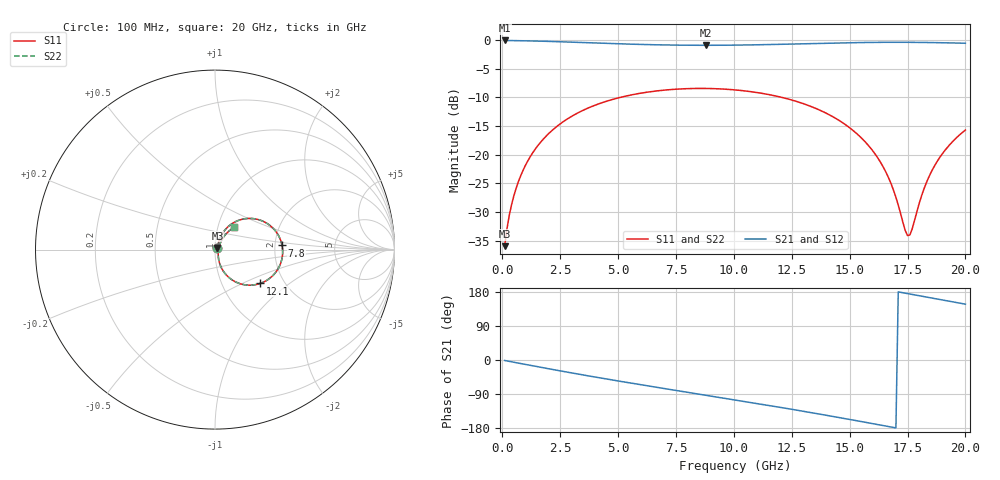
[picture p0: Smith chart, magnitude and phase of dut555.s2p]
! Touchstone file exported from HFSS 2026.1.0
!  File:  C:/ffzhzh/LocalFiles/Ansys_Project_Files/temp_train_TSV_RDL_555_1783115350_35180.aedt
!  Generated:  06:00:34 AM Jul  4, 2026
!  Design:  TSV_RDL
!  Project:  temp_train_TSV_RDL_555_1783115350_35180
! Variables:
!  h_bsmrdl = 3.98um
!  h_ox = 20um
!  h_rdl = 5um
!  h_sub = 80.31um
!  h_tmrdl = 4.88um
!  h_tsv = 80.31um
!  h_via = 3um
!  l_bsmrdl = 232.55um
!  l_sub = 3530.35um
!  l_tmrdl = 576.51um
!  m_sub = 200um
!  pitch = 40.33um
!  r_tsv = 6.1um
!  s_tmrdl = 10um
!  w_bsmrdl = 14.95um
!  w_sub = 500um
!  w_tmrdl = 27.27um
!  x_tsv_center1 = 590.145um
!  x_tsv_center2 = 837.645um
!  x_tsv_center3 = 1441.425um
!  x_tsv_center4 = 1688.925um
!  x_tsv_center5 = 2292.705um
!  x_tsv_center6 = 2540.205um
# GHz S MA R 50.000000
! Terminal data exported
! Port[1] = TM_RDL1_1_T1
! Port[2] = TM_RDL5_1_T1
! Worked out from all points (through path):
!   200 points, 100 MHz to 20 GHz, reference 50 ohm
!   highest |S21| = -0.12 dB at 100 MHz (marker M1); lowest = -1.0 dB at 8.8 GHz (marker M2)
!   group delay of S21, straight-line fit = 28.9 ps
!   lowest |S11| = -35.9 dB at 100 MHz (marker M3), VSWR 1.03, Z = 51.3 + j0.914 ohm
!   |S11| at or under -10 dB: start of sweep to 5.118 GHz; 12.05 GHz to end of sweep
!   |S22| runs from -35.9 to -8.5 dB; largest |S21 - S12| = 3.3e-14
!   S11 on the Smith chart (normalised r, x): 100 MHz: 1.03, +0.02; 7.8 GHz: 2.19, +0.12; 12.1 GHz: 1.51, -0.63; 20 GHz: 1.20, +0.30
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0.1  0.01601 33.8  0.9868 -1.2  0.9868 -1.2  0.01601 33.8
! Gamma 0 0 0 0
! Port Impedance 50 0 50 0
0.3  0.02959 56.3  0.9848 -3.6  0.9848 -3.6  0.02959 56.3
0.5  0.04394 63.0  0.9833 -5.9  0.9833 -5.9  0.04394 63.0
1.2  0.09565 65.5  0.9779 -14.0  0.9779 -14.0  0.09565 65.5
2.2  0.1661 57.7  0.9659 -25.3  0.9659 -25.3  0.1661 57.7
3.5  0.2441 45.0  0.946 -39.6  0.946 -39.6  0.2441 45.0
5.1  0.3156 29.2  0.922 -56.3  0.922 -56.3  0.3156 29.2
6.8  0.3615 12.9  0.9035 -73.4  0.9035 -73.4  0.3615 12.9
7.8  0.3745 3.5  0.8976 -83.2  0.8976 -83.2  0.3745 3.5
8.8  0.3773 -5.8  0.8956 -93.0  0.8956 -93.0  0.3773 -5.8
10.1  0.3657 -17.9  0.8989 -105.8  0.8989 -105.8  0.3657 -17.9
12.1  0.3145 -36.8  0.9143 -125.9  0.9143 -125.9  0.3145 -36.8
13.4  0.2598 -49.2  0.9278 -139.5  0.9278 -139.5  0.2597 -49.2
15.4  0.1469 -66.9  0.9459 -161.3  0.9459 -161.3  0.1469 -66.9
16.1  0.1015 -71.0  0.9496 -169.1  0.9496 -169.1  0.1015 -71.0
16.7  0.0618 -70.2  0.9513 -175.8  0.9513 -175.8  0.06176 -70.2
17.4  0.02196 -33.0  0.9512 176.3  0.9512 176.3  0.02191 -33.0
17.6  0.02003 3.3  0.9507 174.1  0.9507 174.1  0.02 3.4
18.2  0.04975 51.8  0.9484 167.3  0.9484 167.3  0.04977 51.9
18.6  0.07561 55.6  0.9459 162.9  0.9459 162.9  0.07564 55.7
19.2  0.1145 54.3  0.9412 156.2  0.9412 156.2  0.1145 54.4
20  0.164 48.8  0.9331 147.4  0.9331 147.4  0.164 48.9
